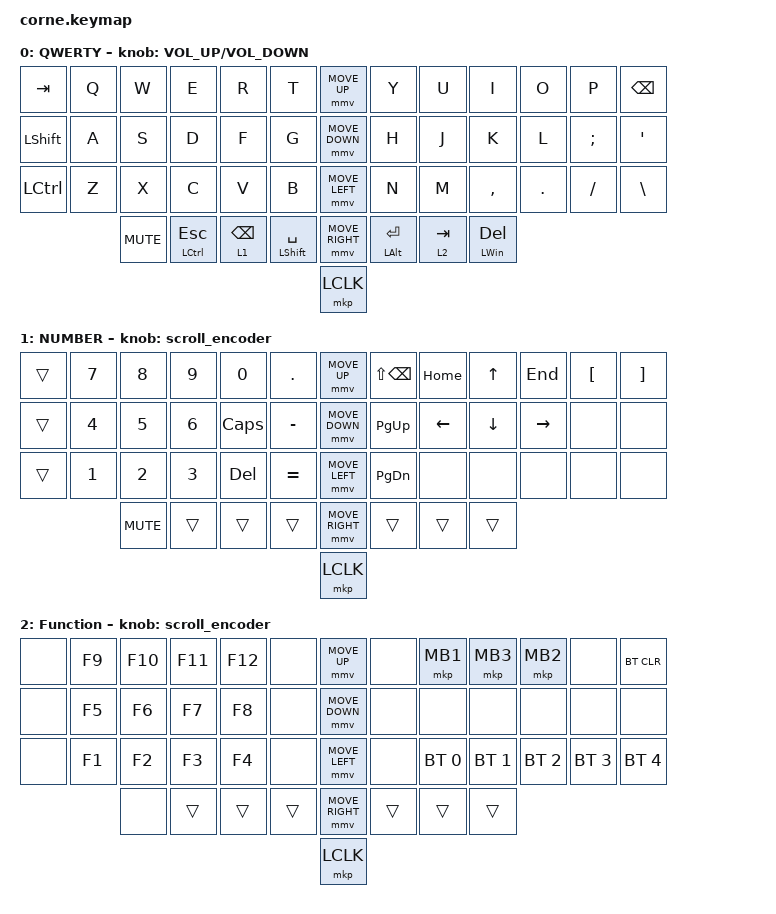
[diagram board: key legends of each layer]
#include <behaviors/mouse_keys.dtsi>
#include <dt-bindings/zmk/mouse.h>
#include <behaviors.dtsi>
#include <dt-bindings/zmk/bt.h>
#include <dt-bindings/zmk/keys.h>
#include <dt-bindings/zmk/pointing.h>
#include <dt-bindings/zmk/pointing.h>
#include <dt-bindings/zmk/pointing.h>
#include <dt-bindings/zmk/rgb.h>

#define ZMK_MOUSE_DEFAULT_MOVE_VAL 1200  // 600
#define ZMK_MOUSE_DEFAULT_SCRL_VAL 20    // 10
#define U_MS_U &mmv MOVE_UP
#define U_MS_D &mmv MOVE_DOWN
#define U_MS_L &mmv MOVE_LEFT
#define U_MS_R &mmv MOVE_RIGHT

/ {
    behaviors {
        td0: td0 {
            compatible = "zmk,behavior-tap-dance";
            label = "TD0";
            #binding-cells = <0>;
            bindings = <&kp LEFT_SHIFT>, <&kp CAPS>;
        };

        mmv {
            acceleration-exponent = <1>;      // 1
            time-to-max-speed-ms = <900>;    // 40
            delay-ms = <0>;                   // 0
        };

        msc {
            acceleration-exponent = <1>;      // 0
            time-to-max-speed-ms = <400>;      // 500
            delay-ms = <0>;                   // 10
        };
    };

    rgb_encoder: rgb_encoder {
        compatible = "zmk,behavior-sensor-rotate";
        label = "RGB_ENCODER";
        #sensor-binding-cells = <0>;
        bindings = <&rgb_ug RGB_BRI>, <&rgb_ug RGB_BRD>;
    };

    scroll_encoder: scroll_encoder {
        compatible = "zmk,behavior-sensor-rotate";
        #sensor-binding-cells = <0>;
        bindings = <&msc SCRL_DOWN>, <&msc SCRL_UP>;

        tap-ms = <30>;
    };

    keymap {
        compatible = "zmk,keymap";

        default_layer {
            display-name = "QWERTY";

            // --------------------------------------------------------------------------------
            // |  TAB |  Q  |  W  |  E  |  R  |  T  |                ↑    |  Y  |  U   |  I  |  O  |  P  | BKSP |      &kp UP_ARROW 
            // | SHIFT |  A  |  S  |  D  |  F  |  G  |               ↓    |  H  |  J   |  K  |  L  |  ;  |  '   | 
            // | CTRL |  Z  |  X  |  C  |  V  |  B  |                ←    |  N  |  M   |  ,  |  .  |  /  | ESC  |
            //                    | GUI | LWR | SPC |                →    | ENT | RSE  | ALT |
            //                                                      enter

            bindings = <
&kp TAB           &kp Q  &kp W       &kp E             &kp R            &kp T              &mmv MOVE_UP     &kp Y               &kp U      &kp I                &kp O    &kp P     &kp BSPC
&kp LSHFT         &kp A  &kp S       &kp D             &kp F            &kp G              &mmv MOVE_DOWN   &kp H               &kp J      &kp K                &kp L    &kp SEMI  &kp SQT
&kp LEFT_CONTROL  &kp Z  &kp X       &kp C             &kp V            &kp B              &mmv MOVE_LEFT   &kp N               &kp M      &kp COMMA            &kp DOT  &kp FSLH  &kp BACKSLASH
                         &kp C_MUTE  &mt LCTRL ESCAPE  &lt 1 BACKSPACE  &mt LSHFT SPACE    &mmv MOVE_RIGHT  &mt LEFT_ALT ENTER  &lt 2 TAB  &mt LEFT_WIN DELETE
                                                                                           &mkp LCLK
            >;

            label = "QWERTY";
            sensor-bindings = <&inc_dec_kp C_VOLUME_UP C_VOLUME_DOWN>;
        };

        lower_layer {
            display-name = "NUMBER";

            // -----------------------------------------------------------------------------------------
            // |  TAB |  1  |  2  |  3  |  4  |  5  |   |  6  |  7  |  8  |  9  |  0  | BKSP |
            // | BTCLR| BT1 | BT2 | BT3 | BT4 | BT5 |   | LFT | DWN |  UP | RGT |     |      |
            // | SHFT |     |     |     |     |     |   |     |     |     |     |     |      |
            //                    | GUI |     | SPC |   | ENT |     | ALT |

            bindings = <
&trans  &kp N7        &kp N8        &kp N9        &kp N0    &kp PERIOD    &mmv MOVE_UP     &kp LS(BACKSPACE)  &kp HOME        &kp UP    &kp END    &kp LEFT_BRACKET  &kp RIGHT_BRACKET
&trans  &kp NUMBER_4  &kp N5        &kp NUMBER_6  &kp CLCK  &kp MINUS     &mmv MOVE_DOWN   &kp PAGE_UP        &kp LEFT_ARROW  &kp DOWN  &kp RIGHT  &none             &none
&trans  &kp NUMBER_1  &kp NUMBER_2  &kp NUMBER_3  &kp DEL   &kp EQUAL     &mmv MOVE_LEFT   &kp PAGE_DOWN      &none           &none     &none      &none             &none
                      &kp C_MUTE    &trans        &trans    &trans        &mmv MOVE_RIGHT  &trans             &trans          &trans
                                                                          &mkp LCLK
            >;

            label = "NUMBER";
            sensor-bindings = <&scroll_encoder>;
        };

        raise_layer {
            display-name = "Function";

            // -----------------------------------------------------------------------------------------
            // |  TAB |  !  |  @  |  #  |  $  |  %  |   |  ^  |  &  |  *  |  (  |  )  | BKSP |
            // | CTRL |     |     |     |     |     |   |  -  |  =  |  [  |  ]  |  \  |  `   |
            // | SHFT |     |     |     |     |     |   |  _  |  +  |  {  |  }  | "|" |  ~   |
            //                    | GUI |     | SPC |   | ENT |     | ALT |

            bindings = <
&none  &kp F9  &kp F10  &kp F11  &kp F12  &none     &mmv MOVE_UP     &none   &mkp MB1      &mkp MB3      &mkp MB2      &none         &bt BT_CLR
&none  &kp F5  &kp F6   &kp F7   &kp F8   &none     &mmv MOVE_DOWN   &none   &none         &none         &none         &none         &none
&none  &kp F1  &kp F2   &kp F3   &kp F4   &none     &mmv MOVE_LEFT   &none   &bt BT_SEL 0  &bt BT_SEL 1  &bt BT_SEL 2  &bt BT_SEL 3  &bt BT_SEL 4
               &none    &trans   &trans   &trans    &mmv MOVE_RIGHT  &trans  &trans        &trans
                                                    &mkp LCLK
            >;

            label = "SYMBOL";
            sensor-bindings = <&scroll_encoder>;
        };
    };
};
